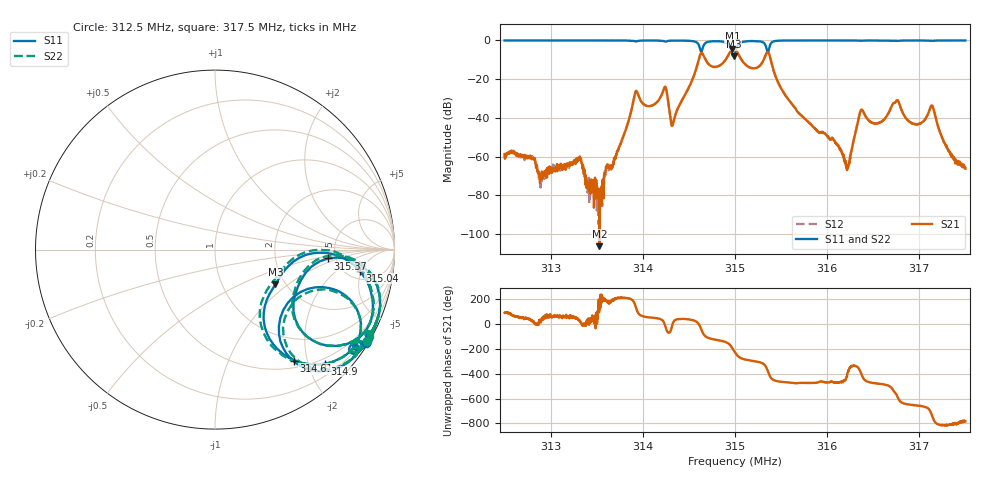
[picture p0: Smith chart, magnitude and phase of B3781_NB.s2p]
! Matrix data file written by TouchstoneData, EPCOS AG
! FILENAME: "newformat_B3781_SB.s2p"
! COMMENT: "22 Jul 2004 S11-NoP:1601;Caltype:FULL2PORT;P"
! INFO: nport=2, nfreq=1601
! DATE: "Wed Sep 19 15:44:01 2012"
! USER: "Wilfried Schott"
! port | pin | signal
!  1  |  2  |  IN
!  2  |  5  |  OUT
# MHZ S MA R 50
! freq  magS11 angS11  magS21 angS21  magS12 angS12  magS22 angS22
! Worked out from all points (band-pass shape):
!   1601 points, 312.5 MHz to 317.5 MHz, reference 50 ohm
!   highest |S21| = -4.25 dB at 314.97 MHz (marker M1); lowest = -106.2 dB at 313.53 MHz (marker M2)
!   |S21| within 3 dB of the highest: 314.9324 MHz to 315.037 MHz (104.6 kHz wide, 0.0332 % of centre); 315.3358 MHz to 315.3721 MHz (36.27 kHz wide, 0.0115 % of centre) (the widest 2 of 3)
!   lowest |S11| = -8.2 dB at 314.98 MHz (marker M3), VSWR 2.27, Z = 88.9 - j40.4 ohm
!   |S11| at or under -10 dB: nowhere
!   |S22| runs from -8.7 to -0.1 dB; largest |S21 - S12| = 0.0031
!   S11 on the Smith chart (normalised r, x): 312.5 MHz: 0.08, -3.52; 314.61 MHz: 0.60, -1.77; 314.9 MHz: 0.40, -2.29; 315.04 MHz: 6.53, -4.53; 315.37 MHz: 4.32, -0.71; 317.5 MHz: 0.10, -3.79
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312.5  0.9875 -31.7  0.001167 91.5  0.0009672 95.8  0.9867 -31.1
312.8969  0.9879 -32.0  0.0003364 25.9  0.0002904 27.6  0.9879 -31.6
313.3344  0.9878 -32.8  0.0007142 -2.4  0.0007679 2.4  0.9859 -32.2
313.5281  0.9877 -33.1  4.915e-06 131.7  0.0001392 172.8  0.9854 -32.5
313.9219  0.936 -34.4  0.04788 141.3  0.04799 140.9  0.9384 -33.7
314.1687  0.981 -35.7  0.02781 44.7  0.02791 44.8  0.9794 -35.3
314.2437  0.927 -35.9  0.06276 -17.1  0.06268 -17.6  0.9258 -35.3
314.3281  0.9803 -35.7  0.007257 12.2  0.007259 12.3  0.9808 -35.1
314.6062  0.7595 -54.8  0.3129 0.6  0.3145 0.5  0.7707 -53.2
314.9  0.8812 -46.1  0.3197 -145.3  0.3205 -145.2  0.8798 -46.4
314.9719  0.4188 -48.4  0.6129 162.9  0.6133 162.8  0.3927 -49.0
314.9844  0.3876 -29.9  0.6021 149.4  0.6027 149.3  0.3705 -27.4
315  0.4442 -8.4  0.6002 133.2  0.6011 133.2  0.4393 -6.4
315.0437  0.8136 -8.3  0.4036 94.8  0.4029 94.7  0.8127 -7.2
315.3062  0.8787 -37.5  0.2946 40.9  0.2957 40.8  0.8806 -37.3
315.3719  0.6326 -4.5  0.4354 -48.0  0.4354 -48.2  0.6182 -3.5
315.8344  0.9878 -26.6  0.006411 -113.3  0.006458 -113.5  0.9874 -26.0
316.2188  0.989 -28.3  0.0005421 -35.9  0.0005406 -57.9  0.9899 -27.6
316.3687  0.9726 -28.6  0.01612 -38.4  0.01616 -39.0  0.9705 -28.1
316.6687  0.9843 -29.6  0.01385 -136.4  0.01373 -136.5  0.9823 -29.0
317.1375  0.9674 -29.4  0.02064 -16.0  0.02064 -16.7  0.9651 -28.8
317.5  0.9874 -29.5  0.0004912 -62.7  0.0004999 -58.1  0.9868 -29.0
